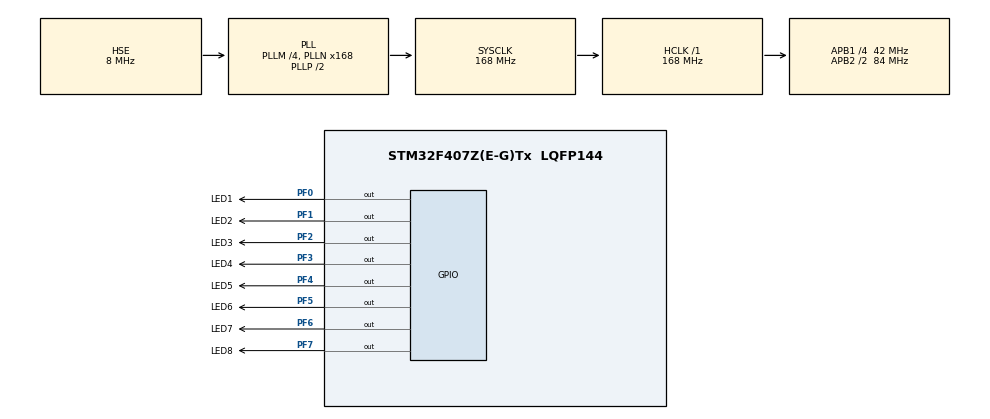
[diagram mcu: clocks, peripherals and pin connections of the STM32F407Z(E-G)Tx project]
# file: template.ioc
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Mcu.Family=STM32F4
Mcu.Name=STM32F407Z(E-G)Tx
Mcu.Package=LQFP144
NVIC.PriorityGroup=NVIC_PRIORITYGROUP_4
PA13.Mode=Serial_Wire
PA13.Signal=SYS_JTMS-SWDIO
PA14.Mode=Serial_Wire
PA14.Signal=SYS_JTCK-SWCLK
PC14-OSC32_IN.Mode=LSE-External-Oscillator
PC14-OSC32_IN.Signal=RCC_OSC32_IN
PC15-OSC32_OUT.Mode=LSE-External-Oscillator
PC15-OSC32_OUT.Signal=RCC_OSC32_OUT
PF0.GPIO_Label=LED1
PF0.PinState=GPIO_PIN_SET
PF0.Signal=GPIO_Output
PF1.GPIO_Label=LED2
PF1.PinState=GPIO_PIN_SET
PF1.Signal=GPIO_Output
PF2.GPIO_Label=LED3
PF2.PinState=GPIO_PIN_SET
PF2.Signal=GPIO_Output
PF3.GPIO_Label=LED4
PF3.PinState=GPIO_PIN_SET
PF3.Signal=GPIO_Output
PF4.GPIO_Label=LED5
PF4.PinState=GPIO_PIN_SET
PF4.Signal=GPIO_Output
PF5.GPIO_Label=LED6
PF5.PinState=GPIO_PIN_SET
PF5.Signal=GPIO_Output
PF6.GPIO_Label=LED7
PF6.PinState=GPIO_PIN_SET
PF6.Signal=GPIO_Output
PF7.GPIO_Label=LED8
PF7.PinState=GPIO_PIN_SET
PF7.Signal=GPIO_Output
PH0-OSC_IN.Mode=HSE-External-Oscillator
PH0-OSC_IN.Signal=RCC_OSC_IN
PH1-OSC_OUT.Mode=HSE-External-Oscillator
PH1-OSC_OUT.Signal=RCC_OSC_OUT
ProjectManager.HeapSize=0x200
ProjectManager.StackSize=0x400
ProjectManager.TargetToolchain=MDK-ARM V5.32
RCC.48MHZClocksFreq_Value=84000000
RCC.AHBFreq_Value=168000000
RCC.APB1CLKDivider=RCC_HCLK_DIV4
RCC.APB1Freq_Value=42000000
RCC.APB1TimFreq_Value=84000000
RCC.APB2CLKDivider=RCC_HCLK_DIV2
RCC.APB2Freq_Value=84000000
RCC.APB2TimFreq_Value=168000000
RCC.CortexFreq_Value=168000000
RCC.HCLKFreq_Value=168000000
RCC.HSE_VALUE=8000000
RCC.HSI_VALUE=16000000
RCC.PLLM=4
RCC.PLLN=168
RCC.PLLSourceVirtual=RCC_PLLSOURCE_HSE
RCC.SYSCLKFreq_VALUE=168000000
RCC.SYSCLKSource=RCC_SYSCLKSOURCE_PLLCLK
RCC.VCOOutputFreq_Value=336000000
board=custom

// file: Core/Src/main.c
/* USER CODE BEGIN Header */
/**
  ******************************************************************************
  * @file           : main.c
  * @brief          : Main program body
  ******************************************************************************
  * @attention
  *
  * Copyright (c) 2026 STMicroelectronics.
  * All rights reserved.
  *
  * This software is licensed under terms that can be found in the LICENSE file
  * in the root directory of this software component.
  * If no LICENSE file comes with this software, it is provided AS-IS.
  *
  ******************************************************************************
  */
/* USER CODE END Header */
#include "main.h"
#include "gpio.h"

void SystemClock_Config(void);

/* USER CODE BEGIN 0 */
void delay(uint32_t i)
{
	while(i--) ;
}

/* USER CODE END 0 */

int main(void)
{

  /* MCU Configuration--------------------------------------------------------*/

  /* Reset of all peripherals, Initializes the Flash interface and the Systick. */
  HAL_Init();

  /* Configure the system clock */
  SystemClock_Config();

  /* Initialize all configured peripherals */
  MX_GPIO_Init();

  /* Infinite loop */
  /* USER CODE BEGIN WHILE */
  while (1)
  {
		GPIOF->ODR = 0xFE;  HAL_Delay(1000);
    GPIOF->ODR = 0xFD;  HAL_Delay(1000);
    GPIOF->ODR = 0xFB;  HAL_Delay(1000);
    GPIOF->ODR = 0xF7;  HAL_Delay(1000);
    GPIOF->ODR = 0xEF;  HAL_Delay(1000);
    GPIOF->ODR = 0xDF;  HAL_Delay(1000);
    GPIOF->ODR = 0xBF;  HAL_Delay(1000);
    GPIOF->ODR = 0x7F;  HAL_Delay(1000);
    /* USER CODE END WHILE */

  }
}

void SystemClock_Config(void)
{
  RCC_OscInitTypeDef RCC_OscInitStruct = {0};
  RCC_ClkInitTypeDef RCC_ClkInitStruct = {0};

  /** Configure the main internal regulator output voltage
  */
  __HAL_RCC_PWR_CLK_ENABLE();
  __HAL_PWR_VOLTAGESCALING_CONFIG(PWR_REGULATOR_VOLTAGE_SCALE1);

  /** Initializes the RCC Oscillators according to the specified parameters
  * in the RCC_OscInitTypeDef structure.
  */
  RCC_OscInitStruct.OscillatorType = RCC_OSCILLATORTYPE_HSE;
  RCC_OscInitStruct.HSEState = RCC_HSE_ON;
  RCC_OscInitStruct.PLL.PLLState = RCC_PLL_ON;
  RCC_OscInitStruct.PLL.PLLSource = RCC_PLLSOURCE_HSE;
  RCC_OscInitStruct.PLL.PLLM = 4;
  RCC_OscInitStruct.PLL.PLLN = 168;
  RCC_OscInitStruct.PLL.PLLP = RCC_PLLP_DIV2;
  RCC_OscInitStruct.PLL.PLLQ = 4;
  if (HAL_RCC_OscConfig(&RCC_OscInitStruct) != HAL_OK)
  {
    Error_Handler();
  }

  /** Initializes the CPU, AHB and APB buses clocks
  */
  RCC_ClkInitStruct.ClockType = RCC_CLOCKTYPE_HCLK|RCC_CLOCKTYPE_SYSCLK
                              |RCC_CLOCKTYPE_PCLK1|RCC_CLOCKTYPE_PCLK2;
  RCC_ClkInitStruct.SYSCLKSource = RCC_SYSCLKSOURCE_PLLCLK;
  RCC_ClkInitStruct.AHBCLKDivider = RCC_SYSCLK_DIV1;
  RCC_ClkInitStruct.APB1CLKDivider = RCC_HCLK_DIV4;
  RCC_ClkInitStruct.APB2CLKDivider = RCC_HCLK_DIV2;

  if (HAL_RCC_ClockConfig(&RCC_ClkInitStruct, FLASH_LATENCY_5) != HAL_OK)
  {
    Error_Handler();
  }
}

/* USER CODE BEGIN 4 */
void delay_us(uint32_t nus)
{
    uint32_t ticks;
    uint32_t told, tnow, tcnt = 0;
    uint32_t reload = SysTick->LOAD + 1;
    ticks = nus * (SystemCoreClock / 1000000);
    told = SysTick->VAL;
    while (1)
    {
        tnow = SysTick->VAL;
        if (tnow != told)
        {
            if (tnow < told)
                tcnt += told - tnow;
            else
                tcnt += reload - tnow + told;
            told = tnow;
            if (tcnt >= ticks) break;
        }
    }
}

/* USER CODE END 4 */

void Error_Handler(void)
{
  __disable_irq();
  while (1)
  {
  }
}
